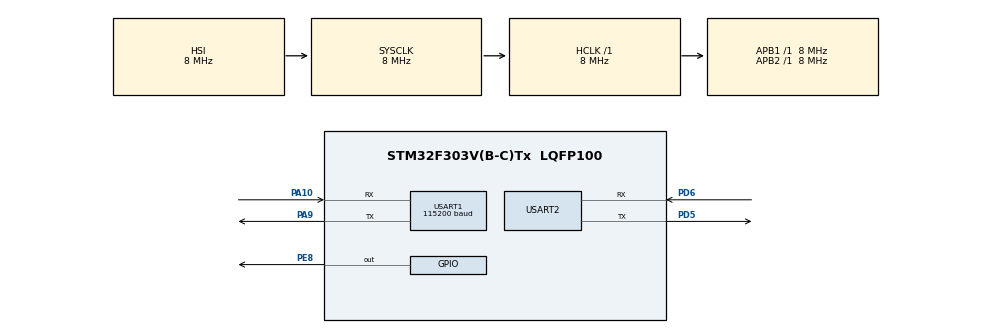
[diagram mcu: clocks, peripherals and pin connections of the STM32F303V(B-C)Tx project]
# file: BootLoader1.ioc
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Mcu.Family=STM32F3
Mcu.Name=STM32F303V(B-C)Tx
Mcu.Package=LQFP100
NVIC.PriorityGroup=NVIC_PRIORITYGROUP_4
PA10.Mode=Asynchronous
PA10.Signal=USART1_RX
PA9.Mode=Asynchronous
PA9.Signal=USART1_TX
PD5.Mode=Asynchronous
PD5.Signal=USART2_TX
PD6.Mode=Asynchronous
PD6.Signal=USART2_RX
PE8.Signal=GPIO_Output
ProjectManager.HeapSize=0x200
ProjectManager.StackSize=0x400
ProjectManager.TargetToolchain=STM32CubeIDE
RCC.AHBFreq_Value=8000000
RCC.APB1Freq_Value=8000000
RCC.APB2Freq_Value=8000000
RCC.CortexFreq_Value=8000000
RCC.HSE_VALUE=8000000
RCC.HSI_VALUE=8000000
RCC.LSE_VALUE=32768
RCC.SYSCLKFreq_VALUE=8000000
USART1.BaudRate=115200
USART1.VirtualMode-Asynchronous=VM_ASYNC
USART2.VirtualMode-Asynchronous=VM_ASYNC
board=custom

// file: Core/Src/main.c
/* USER CODE BEGIN Header */
/**
  ******************************************************************************
  * @file           : main.c
  * @brief          : Main program body
  ******************************************************************************
  * @attention
  *
  * Copyright (c) 2023 STMicroelectronics.
  * All rights reserved.
  *
  * This software is licensed under terms that can be found in the LICENSE file
  * in the root directory of this software component.
  * If no LICENSE file comes with this software, it is provided AS-IS.
  *
  ******************************************************************************
  */
/* USER CODE END Header */
#include "main.h"

/* USER CODE BEGIN Includes */
#include <stdio.h>
#include <string.h>
/* USER CODE END Includes */

/* USER CODE BEGIN PM */
#define MAJOR 0   // BL Major version Number
#define MINOR 1   // BL Minor version Number
/* USER CODE END PM */

UART_HandleTypeDef huart1;
UART_HandleTypeDef huart2;

/* USER CODE BEGIN PV */
const uint8_t BL_Version[2] = { MAJOR, MINOR };
/* USER CODE END PV */

void SystemClock_Config(void);
static void MX_GPIO_Init(void);
static void MX_USART1_UART_Init(void);
static void MX_USART2_UART_Init(void);
/* USER CODE BEGIN PFP */
static void goto_application( void );
/* USER CODE END PFP */

int main(void)
{

  /* MCU Configuration--------------------------------------------------------*/

  /* Reset of all peripherals, Initializes the Flash interface and the Systick. */
  HAL_Init();

  /* Configure the system clock */
  SystemClock_Config();

  /* Initialize all configured peripherals */
  MX_GPIO_Init();
  MX_USART1_UART_Init();
  MX_USART2_UART_Init();
  /* USER CODE BEGIN 2 */
  // Turn ON the Green Led to tell the user that Bootloader is running
  HAL_GPIO_WritePin(GPIOE, GPIO_PIN_8, GPIO_PIN_SET );    //Green LED ON
  printf("Starting Bootloader(%d.%d)\n", BL_Version[0], BL_Version[1] );
  HAL_Delay(2000);   //2sec delay for nothing

  // Jump to application
  goto_application();
  /* USER CODE END 2 */

  /* Infinite loop */
  while (1)
  {

    /* USER CODE BEGIN 3 */
	  //HAL_GPIO_TogglePin(GPIOE, GPIO_PIN_8);
	  //printf("Hello world!!\n");
	 // HAL_Delay(100);
  }
  /* USER CODE END 3 */
}

void SystemClock_Config(void)
{
  RCC_OscInitTypeDef RCC_OscInitStruct = {0};
  RCC_ClkInitTypeDef RCC_ClkInitStruct = {0};
  RCC_PeriphCLKInitTypeDef PeriphClkInit = {0};

  /** Initializes the RCC Oscillators according to the specified parameters
  * in the RCC_OscInitTypeDef structure.
  */
  RCC_OscInitStruct.OscillatorType = RCC_OSCILLATORTYPE_HSI;
  RCC_OscInitStruct.HSIState = RCC_HSI_ON;
  RCC_OscInitStruct.HSICalibrationValue = RCC_HSICALIBRATION_DEFAULT;
  RCC_OscInitStruct.PLL.PLLState = RCC_PLL_NONE;
  if (HAL_RCC_OscConfig(&RCC_OscInitStruct) != HAL_OK)
  {
    Error_Handler();
  }

  /** Initializes the CPU, AHB and APB buses clocks
  */
  RCC_ClkInitStruct.ClockType = RCC_CLOCKTYPE_HCLK|RCC_CLOCKTYPE_SYSCLK
                              |RCC_CLOCKTYPE_PCLK1|RCC_CLOCKTYPE_PCLK2;
  RCC_ClkInitStruct.SYSCLKSource = RCC_SYSCLKSOURCE_HSI;
  RCC_ClkInitStruct.AHBCLKDivider = RCC_SYSCLK_DIV1;
  RCC_ClkInitStruct.APB1CLKDivider = RCC_HCLK_DIV1;
  RCC_ClkInitStruct.APB2CLKDivider = RCC_HCLK_DIV1;

  if (HAL_RCC_ClockConfig(&RCC_ClkInitStruct, FLASH_LATENCY_0) != HAL_OK)
  {
    Error_Handler();
  }
  PeriphClkInit.PeriphClockSelection = RCC_PERIPHCLK_USART1|RCC_PERIPHCLK_USART2;
  PeriphClkInit.Usart1ClockSelection = RCC_USART1CLKSOURCE_PCLK2;
  PeriphClkInit.Usart2ClockSelection = RCC_USART2CLKSOURCE_PCLK1;
  if (HAL_RCCEx_PeriphCLKConfig(&PeriphClkInit) != HAL_OK)
  {
    Error_Handler();
  }
}

static void MX_USART1_UART_Init(void)
{

  huart1.Instance = USART1;
  huart1.Init.BaudRate = 115200;
  huart1.Init.WordLength = UART_WORDLENGTH_8B;
  huart1.Init.StopBits = UART_STOPBITS_1;
  huart1.Init.Parity = UART_PARITY_NONE;
  huart1.Init.Mode = UART_MODE_TX_RX;
  huart1.Init.HwFlowCtl = UART_HWCONTROL_NONE;
  huart1.Init.OverSampling = UART_OVERSAMPLING_16;
  huart1.Init.OneBitSampling = UART_ONE_BIT_SAMPLE_DISABLE;
  huart1.AdvancedInit.AdvFeatureInit = UART_ADVFEATURE_NO_INIT;
  if (HAL_UART_Init(&huart1) != HAL_OK)
  {
    Error_Handler();
  }

}

static void MX_USART2_UART_Init(void)
{

  huart2.Instance = USART2;
  huart2.Init.BaudRate = 115200;
  huart2.Init.WordLength = UART_WORDLENGTH_8B;
  huart2.Init.StopBits = UART_STOPBITS_1;
  huart2.Init.Parity = UART_PARITY_NONE;
  huart2.Init.Mode = UART_MODE_TX_RX;
  huart2.Init.HwFlowCtl = UART_HWCONTROL_NONE;
  huart2.Init.OverSampling = UART_OVERSAMPLING_16;
  huart2.Init.OneBitSampling = UART_ONE_BIT_SAMPLE_DISABLE;
  huart2.AdvancedInit.AdvFeatureInit = UART_ADVFEATURE_NO_INIT;
  if (HAL_UART_Init(&huart2) != HAL_OK)
  {
    Error_Handler();
  }

}

static void MX_GPIO_Init(void)
{
  GPIO_InitTypeDef GPIO_InitStruct = {0};

  /* GPIO Ports Clock Enable */
  __HAL_RCC_GPIOE_CLK_ENABLE();
  __HAL_RCC_GPIOA_CLK_ENABLE();
  __HAL_RCC_GPIOD_CLK_ENABLE();

  /*Configure GPIO pin Output Level */
  HAL_GPIO_WritePin(GPIOE, GPIO_PIN_8, GPIO_PIN_RESET);

  /*Configure GPIO pin : PE8 */
  GPIO_InitStruct.Pin = GPIO_PIN_8;
  GPIO_InitStruct.Mode = GPIO_MODE_OUTPUT_PP;
  GPIO_InitStruct.Pull = GPIO_NOPULL;
  GPIO_InitStruct.Speed = GPIO_SPEED_FREQ_LOW;
  HAL_GPIO_Init(GPIOE, &GPIO_InitStruct);

}

/* USER CODE BEGIN 4 */
#ifdef __GNUC__
  /* With GCC, small printf (option LD Linker->Libraries->Small printf
     set to 'Yes') calls __io_putchar() */
int __io_putchar(int ch)
#else
int fputc(int ch, FILE *f)
#endif /* __GNUC__ */
{
  /* Place your implementation of fputc here */
  /* e.g. write a character to the UART3 and Loop until the end of transmission */
  HAL_UART_Transmit(&huart2, (uint8_t *)&ch, 1, HAL_MAX_DELAY);

  return ch;
}

/**
  * @brief Jump to application from the Bootloader
  * @retval None
  */
static void goto_application(void)
{
  printf("Gonna Jump to Application\n");

  void (*app_reset_handler)(void) = (void*)(*((volatile uint32_t*) (0x08008000 + 4U)));

  //__set_MSP(*(volatile uint32_t*) 0x08040000);

  // Turn OFF the Green Led to tell the user that Bootloader is not running
  HAL_GPIO_WritePin(GPIOB, GPIO_PIN_0, GPIO_PIN_RESET );    //Green LED OFF
  app_reset_handler();    //call the app reset handler
}
/* USER CODE END 4 */

void Error_Handler(void)
{
  __disable_irq();
  while (1)
  {
  }
}
